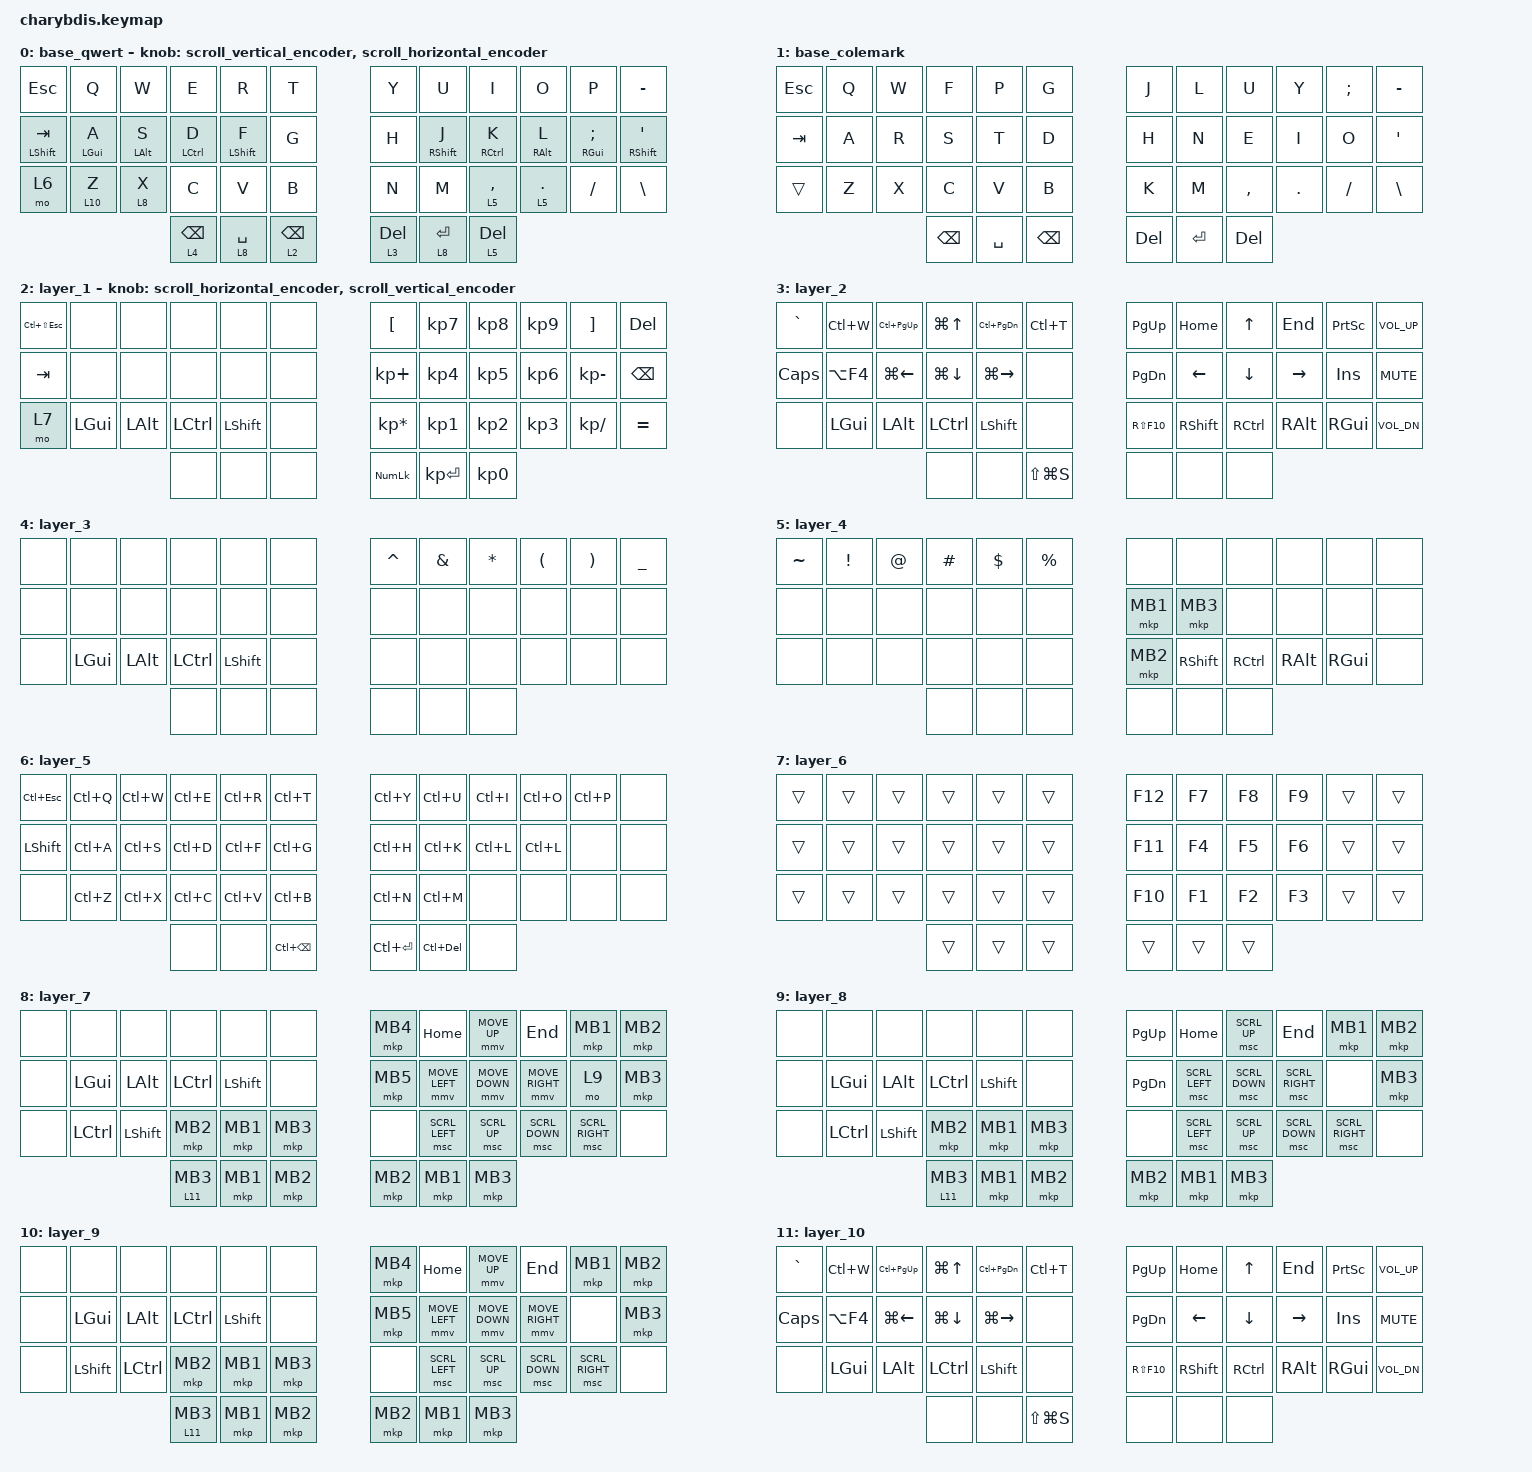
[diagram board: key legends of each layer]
#include <dt-bindings/zmk/mouse.h>
#include <input/processors.dtsi>
#include <zephyr/dt-bindings/input/input-event-codes.h>
#include <behaviors.dtsi>
#include <dt-bindings/zmk/keys.h>
#include <dt-bindings/zmk/pointing.h>
#include <dt-bindings/zmk/rgb.h>

//roll 

#define ZMK_POINTING_DEFAULT_MOVE_VAL 1000 // 600
#define ZMK_POINTING_DEFAULT_SCRL_VAL 12   // 10

&lt {
    tapping-term-ms = <200>;
    flavor = "balanced";
    quick-tap-ms = <150>;
};

&mmv_input_listener { input-processors = <&zip_xy_scaler 2 1>; };

&msc_input_listener { input-processors = <&zip_scroll_scaler 2 1>; };

&msc {
    acceleration-exponent = <0>;      // 0
    time-to-max-speed-ms = <100>;       // 300
    delay-ms = <0>;                   // 0
};

&mmv {
    time-to-max-speed-ms = <300>;
    acceleration-exponent = <1>;
    trigger-period-ms = <16>;
};

/ {
    macros {
        To1_macro: To1_macro {
            compatible = "zmk,behavior-macro";
            label = "To1_macro";
            #binding-cells = <0>;
            bindings = <&rgb_ug RGB_EFF &rgb_ug RGB_COLOR_HSB(128,100,50) &to 2>;
        };

        To0_macro: To0_macro {
            compatible = "zmk,behavior-macro";
            label = "To0_macro";
            #binding-cells = <0>;
            bindings = <&rgb_ug RGB_EFR &to 0>;
        };

        To2_macro: To2_macro {
            compatible = "zmk,behavior-macro";
            label = "To2_macro";
            #binding-cells = <0>;
            bindings =
                <&to 0>,
                <&macro_wait_time 30>,
                <&rgb_ug RGB_COLOR_HSB(250,100,50)>;
        };
    };

    // 上下滚动编码器行为

    scroll_vertical_encoder: scroll_vertical_encoder {
        compatible = "zmk,behavior-sensor-rotate";
        #sensor-binding-cells = <0>;
        bindings = <&msc SCRL_DOWN>, <&msc SCRL_UP>;

        tap-ms = <100>;
    };

    // 左右滚动编码器行为

    scroll_horizontal_encoder: scroll_horizontal_encoder {
        compatible = "zmk,behavior-sensor-rotate";
        #sensor-binding-cells = <0>;
        bindings = <&msc SCRL_LEFT>, <&msc SCRL_RIGHT>;

        tap-ms = <100>;
    };

    mod_tap_mb: mod_tap_mb {
        compatible = "zmk,behavior-hold-tap";
        label = "MOD_TAP_MB";
        bindings = <&mo>, <&mkp>;

        #binding-cells = <2>;
        tapping-term-ms = <200>;
    };

    behaviors {
    };

    keymap {
        compatible = "zmk,keymap";

        base_qwert {
            bindings = <
&kp ESC             &kp Q       &kp W       &kp E            &kp R         &kp T              &kp Y      &kp U         &kp I        &kp O       &kp P          &kp MINUS
&mt LEFT_SHIFT TAB  &mt LGUI A  &mt LALT S  &mt LCTRL D      &mt LSHIFT F  &kp G              &kp H      &mt RSHIFT J  &mt RCTRL K  &mt RALT L  &mt RGUI SEMI  &mt RSHIFT SQT
&mo 6               &lt 10 Z    &lt 8 X     &kp C            &kp V         &kp B              &kp N      &kp M         &lt 5 COMMA  &lt 5 DOT   &kp FSLH       &kp BSLH
                                            &lt 4 BACKSPACE  &lt 8 SPACE   &lt 2 BACKSPACE    &lt 3 DEL  &lt 8 ENTER   &lt 5 DEL
            >;

            sensor-bindings =
                <&scroll_vertical_encoder>,
                // 编码器1：上下滚动,,,,,,,,,,,,,,,,,,,,,,,,,,,,,,,,,
                <&scroll_horizontal_encoder>;

            // 编码器2：左右滚动            
            //ec11-VOL：sensor-bindings = <&inc_dec_kp PG_UP PG_DN &inc_dec_kp C_VOL_UP C_VOL_DN>;
        };

        base_colemark {
            bindings = <
&kp ESC  &kp Q  &kp W  &kp F     &kp P      &kp G       &kp J    &kp L    &kp U      &kp Y    &kp SEMI  &kp MINUS
&kp TAB  &kp A  &kp R  &kp S     &kp T      &kp D       &kp H    &kp N    &kp E      &kp I    &kp O     &kp SQT
&trans   &kp Z  &kp X  &kp C     &kp V      &kp B       &kp K    &kp M    &kp COMMA  &kp DOT  &kp FSLH  &kp BSLH
                       &kp BSPC  &kp SPACE  &kp BSPC    &kp DEL  &kp RET  &kp DEL
            >;
        };

        layer_1 {
            bindings = <
&kp LC(LS(ESC))  &none     &none     &none      &none      &none    &kp LBKT         &kp KP_N7        &kp KP_N8        &kp KP_N9  &kp RBKT       &kp DEL
&kp TAB          &none     &none     &none      &none      &none    &kp KP_PLUS      &kp KP_N4        &kp KP_N5        &kp KP_N6  &kp KP_MINUS   &kp BACKSPACE
&mo 7            &kp LGUI  &kp LALT  &kp LCTRL  &kp LSHFT  &none    &kp KP_MULTIPLY  &kp KP_NUMBER_1  &kp KP_N2        &kp KP_N3  &kp KP_DIVIDE  &kp EQUAL
                                     &none      &none      &none    &kp KP_NUMLOCK   &kp KP_ENTER     &kp KP_NUMBER_0
            >;

            sensor-bindings =
                <&scroll_horizontal_encoder>,
                // 编码器1：左右滚动    ,,,,,,,,,,,,,,,,,,,,,,,,,,,,,,,,,
                <&scroll_vertical_encoder>;

            // 编码器2：上下滚动
        };

        layer_2 {
            bindings = <
&kp GRAVE  &kp LC(W)   &kp LC(PAGE_UP)  &kp LG(UP)    &kp LC(PAGE_DOWN)  &kp LC(T)        &kp PAGE_UP    &kp HOME   &kp UP     &kp END    &kp PRINTSCREEN  &kp C_VOL_UP
&kp CLCK   &kp LA(F4)  &kp LG(LEFT)     &kp LG(DOWN)  &kp LG(RIGHT)      &none            &kp PAGE_DOWN  &kp LEFT   &kp DOWN   &kp RIGHT  &kp INS          &kp C_MUTE
&none      &kp LGUI    &kp LALT         &kp LCTRL     &kp LSHFT          &none            &kp RS(F10)    &kp RSHFT  &kp RCTRL  &kp RALT   &kp RGUI         &kp C_VOL_DN
                                        &none         &none              &kp LS(LG(S))    &none          &none      &none
            >;
        };

        layer_3 {
            bindings = <
&none  &none     &none     &none      &none      &none    &kp CARET  &kp AMPS  &kp ASTRK  &kp LPAR  &kp RPAR  &kp UNDERSCORE
&none  &none     &none     &none      &none      &none    &none      &none     &none      &none     &none     &none
&none  &kp LGUI  &kp LALT  &kp LCTRL  &kp LSHFT  &none    &none      &none     &none      &none     &none     &none
                           &none      &none      &none    &none      &none     &none
            >;
        };

        layer_4 {
            bindings = <
&kp TILDE  &kp EXCL  &kp AT  &kp HASH  &kp DLLR  &kp PRCNT    &none     &none       &none      &none     &none     &none
&none      &none     &none   &none     &none     &none        &mkp MB1  &mkp MB3    &none      &none     &none     &none
&none      &none     &none   &none     &none     &none        &mkp MB2  &kp RSHIFT  &kp RCTRL  &kp RALT  &kp RGUI  &none
                             &none     &none     &none        &none     &none       &none
            >;
        };

        layer_5 {
            bindings = <
&kp LC(ESC)  &kp LC(Q)  &kp LC(W)  &kp LC(E)  &kp LC(R)  &kp LC(T)       &kp LC(Y)    &kp LC(U)    &kp LC(I)  &kp LC(O)  &kp LC(P)  &none
&kp LSHFT    &kp LC(A)  &kp LC(S)  &kp LC(D)  &kp LC(F)  &kp LC(G)       &kp LC(H)    &kp LC(K)    &kp LC(L)  &kp LC(L)  &none      &none
&none        &kp LC(Z)  &kp LC(X)  &kp LC(C)  &kp LC(V)  &kp LC(B)       &kp LC(N)    &kp LC(M)    &none      &none      &none      &none
                                   &none      &none      &kp LC(BSPC)    &kp LC(RET)  &kp LC(DEL)  &none
            >;
        };

        layer_6 {
            bindings = <
&trans  &trans  &trans  &trans  &trans  &trans    &kp F12  &kp F7  &kp F8  &kp F9  &trans  &trans
&trans  &trans  &trans  &trans  &trans  &trans    &kp F11  &kp F4  &kp F5  &kp F6  &trans  &trans
&trans  &trans  &trans  &trans  &trans  &trans    &kp F10  &kp F1  &kp F2  &kp F3  &trans  &trans
                        &trans  &trans  &trans    &trans   &trans  &trans
            >;
        };

        layer_7 {
            bindings = <
&none  &none      &none       &none               &none      &none       &mkp MB4  &kp HOME        &mmv MOVE_UP    &kp END          &mkp MB1         &mkp MB2
&none  &kp LGUI   &kp LALT    &kp LCTRL           &kp LSHFT  &none       &mkp MB5  &mmv MOVE_LEFT  &mmv MOVE_DOWN  &mmv MOVE_RIGHT  &mo 9            &mkp MB3
&none  &kp LCTRL  &kp LSHIFT  &mkp MB2            &mkp MB1   &mkp MB3    &none     &msc SCRL_LEFT  &msc SCRL_UP    &msc SCRL_DOWN   &msc SCRL_RIGHT  &none
                              &mod_tap_mb 11 MB3  &mkp MB1   &mkp MB2    &mkp MB2  &mkp MB1        &mkp MB3
            >;
        };

        layer_8 {
            bindings = <
&none  &none      &none       &none               &none      &none       &kp PG_UP  &kp HOME        &msc SCRL_UP    &kp END          &mkp MB1         &mkp MB2
&none  &kp LGUI   &kp LALT    &kp LCTRL           &kp LSHFT  &none       &kp PG_DN  &msc SCRL_LEFT  &msc SCRL_DOWN  &msc SCRL_RIGHT  &none            &mkp MB3
&none  &kp LCTRL  &kp LSHIFT  &mkp MB2            &mkp MB1   &mkp MB3    &none      &msc SCRL_LEFT  &msc SCRL_UP    &msc SCRL_DOWN   &msc SCRL_RIGHT  &none
                              &mod_tap_mb 11 MB3  &mkp MB1   &mkp MB2    &mkp MB2   &mkp MB1        &mkp MB3
            >;
        };

        layer_9 {
            bindings = <
&none  &none       &none      &none               &none      &none       &mkp MB4  &kp HOME        &mmv MOVE_UP    &kp END          &mkp MB1         &mkp MB2
&none  &kp LGUI    &kp LALT   &kp LCTRL           &kp LSHFT  &none       &mkp MB5  &mmv MOVE_LEFT  &mmv MOVE_DOWN  &mmv MOVE_RIGHT  &none            &mkp MB3
&none  &kp LSHIFT  &kp LCTRL  &mkp MB2            &mkp MB1   &mkp MB3    &none     &msc SCRL_LEFT  &msc SCRL_UP    &msc SCRL_DOWN   &msc SCRL_RIGHT  &none
                              &mod_tap_mb 11 MB3  &mkp MB1   &mkp MB2    &mkp MB2  &mkp MB1        &mkp MB3
            >;
        };

        layer_10 {
            bindings = <
&kp GRAVE  &kp LC(W)   &kp LC(PAGE_UP)  &kp LG(UP)    &kp LC(PAGE_DOWN)  &kp LC(T)        &kp PAGE_UP    &kp HOME   &kp UP     &kp END    &kp PRINTSCREEN  &kp C_VOL_UP
&kp CLCK   &kp LA(F4)  &kp LG(LEFT)     &kp LG(DOWN)  &kp LG(RIGHT)      &none            &kp PAGE_DOWN  &kp LEFT   &kp DOWN   &kp RIGHT  &kp INS          &kp C_MUTE
&none      &kp LGUI    &kp LALT         &kp LCTRL     &kp LSHFT          &none            &kp RS(F10)    &kp RSHFT  &kp RCTRL  &kp RALT   &kp RGUI         &kp C_VOL_DN
                                        &none         &none              &kp LS(LG(S))    &none          &none      &none
            >;
        };

        /* layer_2 {
            bindings = <
&none  &none   &none    &none   &none         &none         &kp N1         &none         &none     &none  &none   &to 0
&none  &none   &none    &none   &none         &none         &none         &none          &rgb_ug RGB_BRD &rgb_ug RGB_BRI  &rgb_ug RGB_EFF   &rgb_ug RGB_TOG
&none  &none   &none    &none   &none         &none         &none         &mkp LCLK     &mkp RCLK  &none  &none   &none
&none  &none   &none    &none   &bt BT_NXT  &bt BT_CLR    &none         &none         &none     &none  &none   &none
                                   &none         &none         &none         &none         &none
                                                 &none         &none         &none
            >;
       
            
        };

       Mouse {
            bindings = <
&none        &none         &none         &none         &none      &none         &none       &none      &none         &none         &none         &none
&none        &bt BT_SEL 0  &bt BT_SEL 1  &bt BT_SEL 3  &none      &bt BT_CLR    &bt BT_CLR  &none      &bt BT_SEL 2  &bt BT_SEL 1  &bt BT_SEL 0  &none
&none        &trans        &trans        &mkp MCLK     &trans     &none         &none       &trans     &mkp MCLK     &trans        &trans        &none
&bootloader  &trans        &mkp RCLK     &mo 4         &mkp LCLK  &mo 5         &mo 5       &mkp LCLK  &mo 4         &mkp RCLK     &trans        &bootloader
                                         &mo 5         &mkp LCLK  &mkp RCLK     &mkp RCLK   &mkp LCLK
                                                       &none      &trans        &trans
            >;

            
        };

        layer_4 {
            bindings = <
&trans  &trans  &trans     &trans     &trans     &trans       &trans     &trans     &trans     &trans     &trans  &trans
&trans  &trans  &trans     &trans     &trans     &trans       &trans     &trans     &trans     &trans     &trans  &trans
&trans  &trans  &trans     &mkp MCLK  &trans     &trans       &trans     &trans     &mkp MCLK  &trans     &trans  &trans
&trans  &trans  &mkp RCLK  &trans     &mkp LCLK  &trans       &trans     &mkp LCLK  &trans     &mkp RCLK  &trans  &trans
                           &trans     &mkp LCLK  &mkp RCLK    &mkp RCLK  &mkp LCLK
                                      &trans     &trans       &trans
            >;
                
                
               
        };

        layer_5 {
            bindings = <
&trans  &trans  &trans     &trans     &trans     &trans       &trans     &trans     &trans     &trans     &trans  &trans
&trans  &trans  &trans     &trans     &trans     &trans       &trans     &trans     &trans     &trans     &trans  &trans
&trans  &trans  &trans     &mkp MCLK  &trans     &trans       &trans     &trans     &mkp MCLK  &trans     &trans  &trans
&trans  &trans  &mkp RCLK  &trans     &mkp LCLK  &trans       &trans     &mkp LCLK  &trans     &mkp RCLK  &trans  &trans
                           &trans     &mkp LCLK  &mkp RCLK    &mkp RCLK  &mkp LCLK
                                      &trans     &trans       &trans
            >;
                
                
        };*/
    };
};
